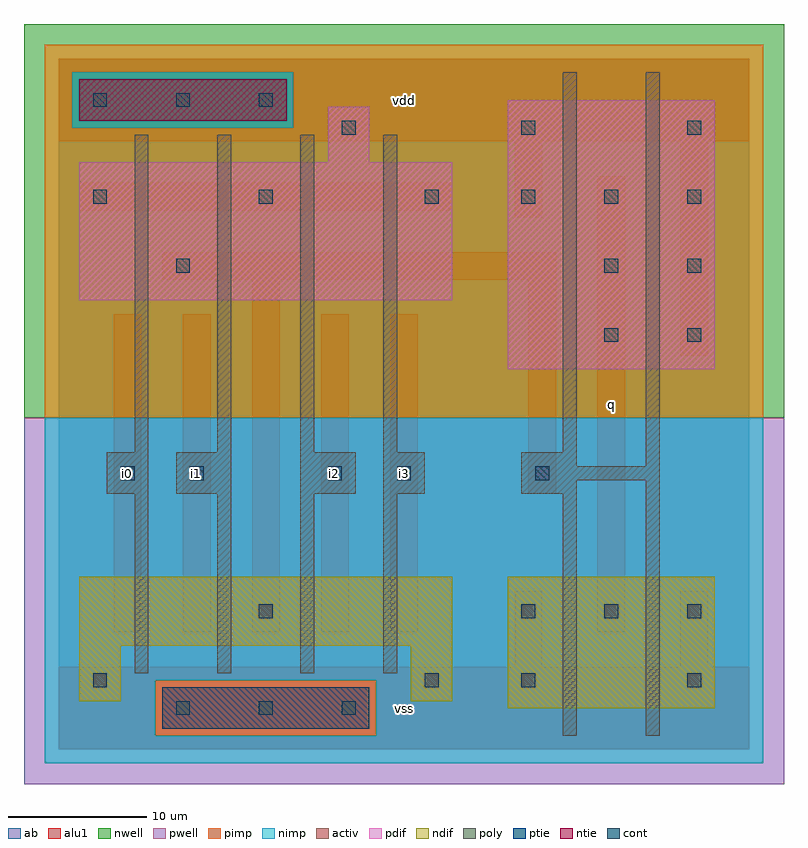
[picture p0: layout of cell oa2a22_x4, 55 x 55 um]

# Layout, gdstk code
import gdstk
lib = gdstk.Library(unit=1e-6, precision=1e-09)
def R(c, l, rs):  # rectangles x0, y0, x1, y1
    for r in rs: c.add(gdstk.rectangle(r[:2], r[2:], *l))
def A(c, l, x, y, w, h, nx, ny, dx, dy):  # array of equal rectangles
    R(c, l, [(x+i*dx, y+j*dy, x+i*dx+w, y+j*dy+h) for i in range(nx) for j in range(ny)])
ndif = (3, 0)
pdif = (4, 0)
ntie = (5, 0)
ptie = (6, 0)
cont = (25, 0)
pwell = (41, 0)
nwell = (42, 0)
activ = (43, 0)
pimp = (44, 0)
nimp = (45, 0)
poly = (46, 0)
alu1 = (49, 0)
ab = (63, 0)

oa2a22_x4 = lib.new_cell('oa2a22_x4')
R(oa2a22_x4, ndif, [(32.5,3,47.5,12.5), (1.5,3.5,4.5,7.5), (25.5,3.5,28.5,7.5), (1.5,7.5,28.5,12.5)])
R(oa2a22_x4, pdif, [(32.5,27.5,47.5,47), (1.5,32.5,28.5,42.5), (19.5,42.5,22.5,46.5)])
R(oa2a22_x4, ntie, [(1.5,45.5,16.5,48.5)])
R(oa2a22_x4, ptie, [(7.5,1.5,22.5,4.5)])
A(oa2a22_x4, cont, 8.5, 2.5, 1, 1, 3, 1, 6, 0)
A(oa2a22_x4, cont, 33.5, 9.5, 1, 1, 3, 2, 6, 30)
A(oa2a22_x4, cont, 2.5, 39.5, 1, 1, 3, 1, 12, 0)
A(oa2a22_x4, cont, 2.5, 46.5, 1, 1, 3, 1, 6, 0)
R(oa2a22_x4, cont, [(2.5,4.5,3.5,5.5), (26.5,4.5,27.5,5.5), (33.5,4.5,34.5,5.5), (45.5,4.5,46.5,5.5), (14.5,9.5,15.5,10.5), (4.5,19.5,5.5,20.5), (9.5,19.5,10.5,20.5), (19.5,19.5,20.5,20.5), (24.5,19.5,25.5,20.5), (34.5,19.5,35.5,20.5), (39.5,29.5,40.5,30.5), (45.5,29.5,46.5,30.5), (8.5,34.5,9.5,35.5), (39.5,34.5,40.5,35.5), (45.5,34.5,46.5,35.5), (20.5,44.5,21.5,45.5), (33.5,44.5,34.5,45.5), (45.5,44.5,46.5,45.5)])
R(oa2a22_x4, pwell, [(-2.5,-2.5,52.5,24)])
R(oa2a22_x4, nwell, [(-2.5,24,52.5,52.5)])
R(oa2a22_x4, activ, [(7.5,1.5,22.5,4.5), (32.5,3,47.5,12.5), (1.5,3.5,4.5,7.5), (25.5,3.5,28.5,7.5), (1.5,7.5,28.5,12.5), (32.5,27.5,47.5,47), (1.5,32.5,28.5,42.5), (19.5,42.5,22.5,46.5), (1.5,45.5,16.5,48.5)])
R(oa2a22_x4, pimp, [(7,1,23,5), (-1,24,51,45), (-1,45,1,49), (17,45,51,49), (-1,49,51,51)])
R(oa2a22_x4, nimp, [(-1,-1,51,1), (-1,1,7,5), (23,1,51,5), (-1,5,51,24), (1,45,17,49)])
A(oa2a22_x4, poly, 5.5, 5.5, 1, 13, 4, 1, 6, 0)
A(oa2a22_x4, poly, 5.5, 21.5, 1, 23, 4, 1, 6, 0)
R(oa2a22_x4, poly, [(36.5,1,37.5,18.5), (42.5,1,43.5,19.5), (3.5,18.5,6.5,21.5), (8.5,18.5,12.5,21.5), (17.5,18.5,21.5,21.5), (23.5,18.5,26.5,21.5), (33.5,18.5,37.5,19.5), (33.5,19.5,43.5,20.5), (33.5,20.5,37.5,21.5), (42.5,20.5,43.5,49), (36.5,21.5,37.5,49)])
R(oa2a22_x4, alu1, [(0,0,50,6), (0,0,50,6), (33,6,35,11.5), (33,6,35,11.5), (45,6,47,11.5), (45,6,47,11.5), (4,8.5,6,31.5), (4,8.5,6,31.5), (9,8.5,11,31.5), (9,8.5,11,31.5), (14,8.5,16,34), (14,8.5,16,34), (19,8.5,21,31.5), (19,8.5,21,31.5), (24,8.5,26,31.5), (24,8.5,26,31.5), (39,8.5,41,41.5), (39,8.5,41,41.5), (34,18.5,36,34), (34,18.5,36,34), (45,28.5,47,44), (45,28.5,47,44), (7.5,34,36,36), (7.5,34,36,36), (33,38.5,35,44), (33,38.5,35,44), (1.5,39,28.5,41), (1.5,39,28.5,41), (0,44,50,50), (0,44,50,50)])
R(oa2a22_x4, ab, [(0,0,50,50)])
oa2a22_x4.add(gdstk.Label('i1', (10,20), layer=49, texttype=0))
oa2a22_x4.add(gdstk.Label('i0', (5,20), layer=49, texttype=0))
oa2a22_x4.add(gdstk.Label('i2', (20,20), layer=49, texttype=0))
oa2a22_x4.add(gdstk.Label('vss', (25,3), layer=49, texttype=0))
oa2a22_x4.add(gdstk.Label('i3', (25,20), layer=49, texttype=0))
oa2a22_x4.add(gdstk.Label('vdd', (25,47), layer=49, texttype=0))
oa2a22_x4.add(gdstk.Label('q', (40,25), layer=49, texttype=0))

lib.write_gds('oa2a22_x4.gds')
